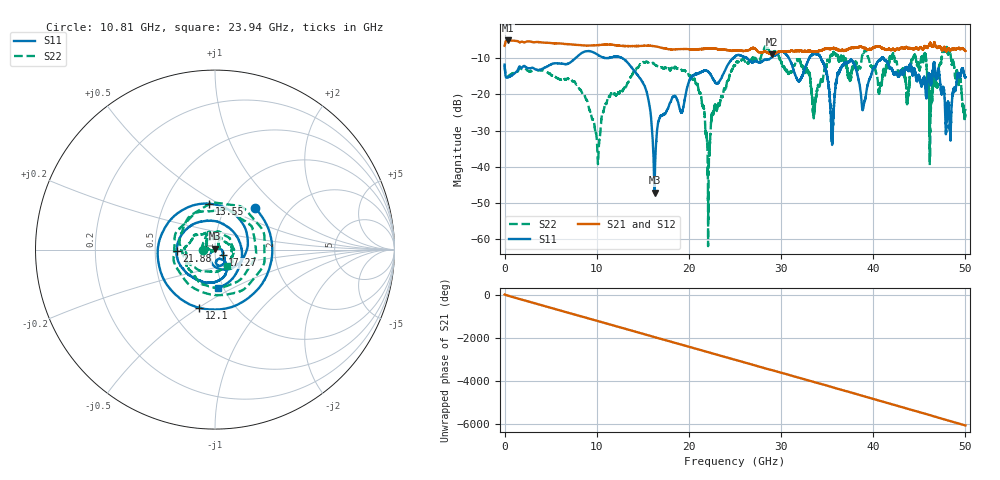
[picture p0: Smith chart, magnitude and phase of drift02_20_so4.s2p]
!Created with skrf (http://scikit-rf.org).
# Hz S RI R 50.0
!freq ReS11 ImS11 ReS21 ImS21 ReS12 ImS12 ReS22 ImS22
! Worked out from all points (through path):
!   10001 points, 300 kHz to 50 GHz, reference 50 ohm
!   highest |S21| = -5.04 dB at 325.3 MHz (marker M1); lowest = -8.9 dB at 28.98 GHz (marker M2)
!   group delay of S21, straight-line fit = 336 ps
!   lowest |S11| = -47.2 dB at 16.27 GHz (marker M3), VSWR 1.01, Z = 49.9 + j0.43 ohm
!   |S11| at or under -10 dB: start of sweep to 7.666 GHz; 12.81 GHz to 24.77 GHz (11.96 GHz wide, 63.6 % of centre); 41.12 GHz to end of sweep (the widest 3 of 10)
!   |S22| runs from -62.0 to -6.8 dB; largest |S21 - S12| = 0.029
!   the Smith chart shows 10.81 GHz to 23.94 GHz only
!   S11 on the Smith chart (normalised r, x): 10.81 GHz: 1.37, +0.71; 12.1 GHz: 0.69, -0.50; 13.55 GHz: 0.83, +0.45; 17.27 GHz: 1.09, -0.07; 21.88 GHz: 0.65, -0.01; 23.94 GHz: 0.94, -0.43
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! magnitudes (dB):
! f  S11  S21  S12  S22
! 300 kHz  -11.7  -6.5  -6.5  -11.7
! 325.3 MHz  -15.3  -5.0  -5.0  -15.1
! 8.335 GHz  -8.6  -6.4  -6.4  -19.1
! 10.11 GHz  -9.0  -6.3  -6.3  -38.1
! 10.81 GHz  -9.8  -6.2  -6.2  -23.8
! 12.1 GHz  -9.5  -6.4  -6.4  -20.3
! 13.55 GHz  -11.8  -6.6  -6.6  -15.9
! 16.27 GHz  -47.2  -6.6  -6.6  -11.7
! 16.67 GHz  -27.6  -6.8  -6.8  -12.2
! 17.27 GHz  -25.4  -7.2  -7.2  -12.9
! 20.74 GHz  -14.3  -7.5  -7.5  -16.9
! 21.88 GHz  -13.4  -7.3  -7.3  -31.4
! 23.94 GHz  -13.3  -7.6  -7.6  -18.7
! 25 GHz  -9.5  -7.9  -7.9  -11.9
! 28.98 GHz  -9.8  -8.9  -8.9  -8.1
! 33.34 GHz  -9.1  -8.0  -8.0  -20.2
! 35.53 GHz  -32.0  -7.3  -7.4  -9.2
! 36.8 GHz  -11.8  -7.8  -7.7  -10.1
! 41.67 GHz  -12.0  -7.4  -7.6  -11.5
! 46.25 GHz  -17.5  -6.1  -6.1  -22.6
! 48.13 GHz  -22.0  -7.2  -7.1  -9.0
! 50 GHz  -15.2  -7.9  -7.9  -24.0
